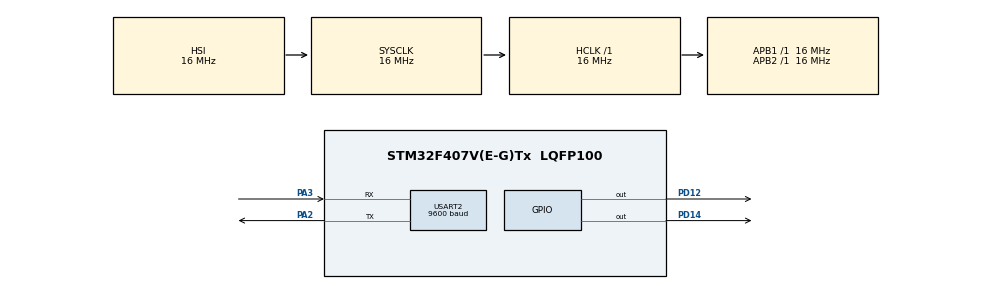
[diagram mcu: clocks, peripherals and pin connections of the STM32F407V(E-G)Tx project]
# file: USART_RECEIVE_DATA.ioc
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Mcu.Family=STM32F4
Mcu.Name=STM32F407V(E-G)Tx
Mcu.Package=LQFP100
NVIC.PriorityGroup=NVIC_PRIORITYGROUP_4
NVIC.USART2_IRQn=true\:0\:0\:false\:false\:true\:true\:true
PA2.Mode=Asynchronous
PA2.Signal=USART2_TX
PA3.Mode=Asynchronous
PA3.Signal=USART2_RX
PD12.Signal=GPIO_Output
PD14.Signal=GPIO_Output
ProjectManager.HeapSize=0x200
ProjectManager.StackSize=0x400
ProjectManager.TargetToolchain=STM32CubeIDE
RCC.AHBFreq_Value=16000000
RCC.APB1Freq_Value=16000000
RCC.APB2Freq_Value=16000000
RCC.CortexFreq_Value=16000000
RCC.HSE_VALUE=25000000
RCC.HSI_VALUE=16000000
RCC.LSE_VALUE=32768
RCC.SYSCLKFreq_VALUE=16000000
RCC.VCOOutputFreq_Value=192000000
USART2.BaudRate=9600
USART2.VirtualMode=VM_ASYNC
board=custom

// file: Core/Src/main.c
/* USER CODE BEGIN Header */
/**
  ******************************************************************************
  * @file           : main.c
  * @brief          : Main program body
  ******************************************************************************
  * @attention
  *
  * <h2><center>&copy; Copyright (c) 2021 STMicroelectronics.
  * All rights reserved.</center></h2>
  *
  * This software component is licensed by ST under BSD 3-Clause license,
  * the "License"; You may not use this file except in compliance with the
  * License. You may obtain a copy of the License at:
  *                        opensource.org/licenses/BSD-3-Clause
  *
  ******************************************************************************
  */
/* USER CODE END Header */
#include "main.h"

/* USER CODE BEGIN Includes */
#include "string.h"
/* USER CODE END Includes */

UART_HandleTypeDef huart2;

/* USER CODE BEGIN PV */
char tx_buff[50];
char rx_buff[50];
int state = 0;
char led_on[]="led on";
char led_off[]="led off";

/* USER CODE END PV */

void SystemClock_Config(void);
static void MX_GPIO_Init(void);
static void MX_USART2_UART_Init(void);

int main(void)
{

  /* MCU Configuration--------------------------------------------------------*/

  /* Reset of all peripherals, Initializes the Flash interface and the Systick. */
  HAL_Init();

  /* Configure the system clock */
  SystemClock_Config();

  /* Initialize all configured peripherals */
  MX_GPIO_Init();
  MX_USART2_UART_Init();

  /* Infinite loop */
  while (1)
  {

    /* USER CODE BEGIN 3 */
	  HAL_UART_Receive(&huart2, (uint8_t*)rx_buff, 50, 100);
	  HAL_UART_Receive_IT(huart, pData, Size)

	  if(strncmp(rx_buff,led_on,6)==0 && state == 0){
		  HAL_GPIO_WritePin(GPIOD, GPIO_PIN_12 | GPIO_PIN_14, GPIO_PIN_SET);
		  state = 1;
		  strcpy(tx_buff , "MEHMET TAPUR LEDLERI YAKTI\n");
		  HAL_UART_Transmit(&huart2, (uint8_t*)tx_buff, strlen(tx_buff), 100);
	  }

	  else if(strncmp(rx_buff,led_off,7)==0 && state == 1){

		  HAL_GPIO_WritePin(GPIOD, GPIO_PIN_12 | GPIO_PIN_14, GPIO_PIN_RESET);
		  state=0;
		  strcpy(tx_buff , "MEHMET TAPUR LEDLERI KAPATTI\n");
		  HAL_UART_Transmit(&huart2, (uint8_t*)tx_buff, strlen(tx_buff), 100);
	  }
  }
  /* USER CODE END 3 */
}

void SystemClock_Config(void)
{
  RCC_OscInitTypeDef RCC_OscInitStruct = {0};
  RCC_ClkInitTypeDef RCC_ClkInitStruct = {0};

  /** Configure the main internal regulator output voltage
  */
  __HAL_RCC_PWR_CLK_ENABLE();
  __HAL_PWR_VOLTAGESCALING_CONFIG(PWR_REGULATOR_VOLTAGE_SCALE1);
  /** Initializes the RCC Oscillators according to the specified parameters
  * in the RCC_OscInitTypeDef structure.
  */
  RCC_OscInitStruct.OscillatorType = RCC_OSCILLATORTYPE_HSI;
  RCC_OscInitStruct.HSIState = RCC_HSI_ON;
  RCC_OscInitStruct.HSICalibrationValue = RCC_HSICALIBRATION_DEFAULT;
  RCC_OscInitStruct.PLL.PLLState = RCC_PLL_NONE;
  if (HAL_RCC_OscConfig(&RCC_OscInitStruct) != HAL_OK)
  {
    Error_Handler();
  }
  /** Initializes the CPU, AHB and APB buses clocks
  */
  RCC_ClkInitStruct.ClockType = RCC_CLOCKTYPE_HCLK|RCC_CLOCKTYPE_SYSCLK
                              |RCC_CLOCKTYPE_PCLK1|RCC_CLOCKTYPE_PCLK2;
  RCC_ClkInitStruct.SYSCLKSource = RCC_SYSCLKSOURCE_HSI;
  RCC_ClkInitStruct.AHBCLKDivider = RCC_SYSCLK_DIV1;
  RCC_ClkInitStruct.APB1CLKDivider = RCC_HCLK_DIV1;
  RCC_ClkInitStruct.APB2CLKDivider = RCC_HCLK_DIV1;

  if (HAL_RCC_ClockConfig(&RCC_ClkInitStruct, FLASH_LATENCY_0) != HAL_OK)
  {
    Error_Handler();
  }
}

static void MX_USART2_UART_Init(void)
{

  huart2.Instance = USART2;
  huart2.Init.BaudRate = 9600;
  huart2.Init.WordLength = UART_WORDLENGTH_8B;
  huart2.Init.StopBits = UART_STOPBITS_1;
  huart2.Init.Parity = UART_PARITY_NONE;
  huart2.Init.Mode = UART_MODE_TX_RX;
  huart2.Init.HwFlowCtl = UART_HWCONTROL_NONE;
  huart2.Init.OverSampling = UART_OVERSAMPLING_16;
  if (HAL_UART_Init(&huart2) != HAL_OK)
  {
    Error_Handler();
  }

}

static void MX_GPIO_Init(void)
{
  GPIO_InitTypeDef GPIO_InitStruct = {0};

  /* GPIO Ports Clock Enable */
  __HAL_RCC_GPIOA_CLK_ENABLE();
  __HAL_RCC_GPIOD_CLK_ENABLE();

  /*Configure GPIO pin Output Level */
  HAL_GPIO_WritePin(GPIOD, GPIO_PIN_12|GPIO_PIN_14, GPIO_PIN_RESET);

  /*Configure GPIO pins : PD12 PD14 */
  GPIO_InitStruct.Pin = GPIO_PIN_12|GPIO_PIN_14;
  GPIO_InitStruct.Mode = GPIO_MODE_OUTPUT_PP;
  GPIO_InitStruct.Pull = GPIO_NOPULL;
  GPIO_InitStruct.Speed = GPIO_SPEED_FREQ_LOW;
  HAL_GPIO_Init(GPIOD, &GPIO_InitStruct);

}

void Error_Handler(void)
{
  __disable_irq();
  while (1)
  {
  }
}

/************************ (C) COPYRIGHT STMicroelectronics *****END OF FILE****/
